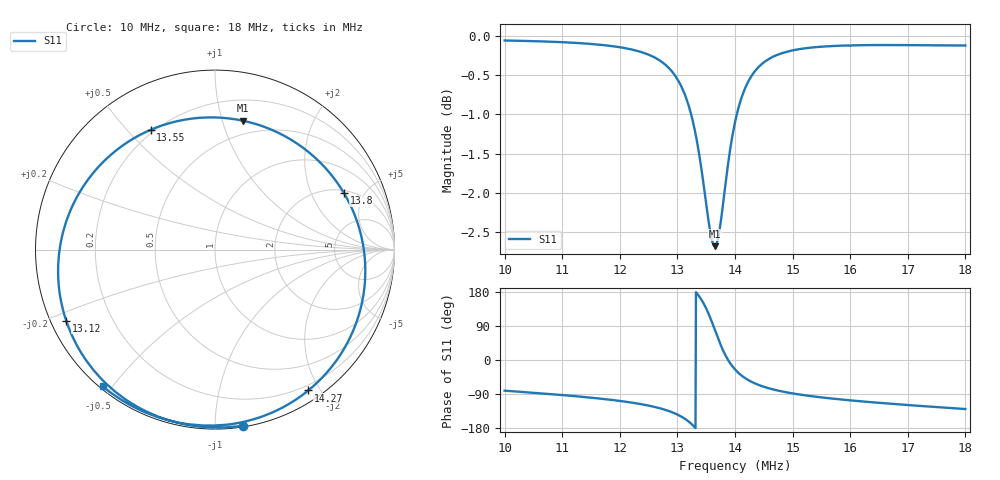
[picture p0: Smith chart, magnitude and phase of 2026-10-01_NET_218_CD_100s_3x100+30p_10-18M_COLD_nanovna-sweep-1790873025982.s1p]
! NanoVNA Web complex sweep
! Processing: unaveraged complex samples; linear segment spacing; no smoothing
# Hz S RI R 50
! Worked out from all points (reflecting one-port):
!   1010 points, 10 MHz to 18 MHz, reference 50 ohm
!   lowest |S11| = -2.7 dB at 13.66 MHz (marker M1), VSWR 6.54, Z = 18.8 + j58.6 ohm
!   phase of S11 starts at -81 deg and turns -408 deg over the sweep
!   S11 on the Smith chart (normalised r, x): 10 MHz: 0.01, -1.17; 13.12 MHz: 0.04, -0.23; 13.55 MHz: 0.19, +0.58; 13.8 MHz: 2.16, +3.53; 14.27 MHz: 0.13, -1.85; 18 MHz: 0.01, -0.47
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1e7  0.1561 -0.981
1.100698e7  -0.0449 -0.9898
1.200604e7  -0.3058 -0.9347
1.234698e7  -0.4272 -0.879
1.261657e7  -0.5458 -0.7999
1.283065e7  -0.6591 -0.6921
1.300509e7  -0.7623 -0.5466
1.312403e7  -0.8294 -0.3952
1.327468e7  -0.874 -0.1049
1.337775e7  -0.8227 0.174
1.346497e7  -0.6657 0.4424
1.355219e7  -0.3577 0.6677
1.36077e7  -0.0899 0.7339
1.365527e7  0.1572 0.7178
1.369491e7  0.3533 0.6505
1.373456e7  0.5234 0.5419
1.379799e7  0.7188 0.3143
1.383764e7  0.7901 0.1605
1.388521e7  0.8314 -0.0175
1.400414e7  0.7968 -0.3794
1.413101e7  0.6711 -0.6255
1.427373e7  0.5196 -0.785
1.455918e7  0.2758 -0.9251
1.50032e7  0.03 -0.9786
1.543929e7  -0.1298 -0.9753
1.600225e7  -0.2799 -0.945
1.700131e7  -0.4764 -0.8638
1.800036e7  -0.6254 -0.7624
